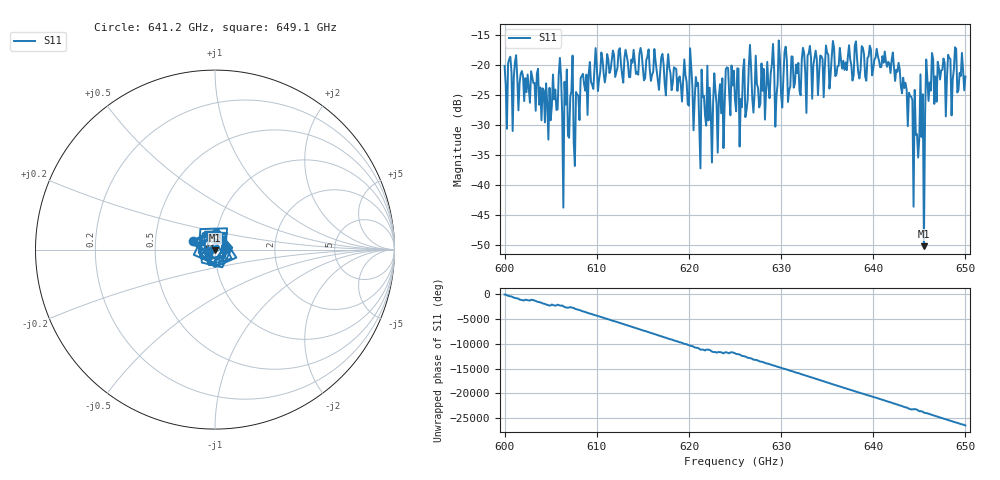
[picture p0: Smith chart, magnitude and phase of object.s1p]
!Created with skrf (http://scikit-rf.org).
# GHz S MA R 50.0
!freq magS11 angS11
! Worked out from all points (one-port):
!   401 points, 600 GHz to 650 GHz, reference 50 ohm
!   lowest |S11| = -50.1 dB at 645.5 GHz (marker M1), VSWR 1.01, Z = 49.9 - j0.3 ohm
!   |S11| at or under -10 dB: start of sweep to end of sweep
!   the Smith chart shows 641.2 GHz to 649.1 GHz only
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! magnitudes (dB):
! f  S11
! 600 GHz  -20.1
! 603.4 GHz  -27.6
! 604.9 GHz  -23.8
! 605.9 GHz  -21.5
! 606.2 GHz  -28.4
! 607.8 GHz  -24.5
! 608.5 GHz  -21.5
! 612.5 GHz  -17.2
! 618.8 GHz  -24.3
! 622.4 GHz  -28.1
! 623.6 GHz  -22.2
! 624.1 GHz  -20.4
! 625 GHz  -25.9
! 625.6 GHz  -25.6
! 626.6 GHz  -16.7
! 628.5 GHz  -19.5
! 631.2 GHz  -18.6
! 637.5 GHz  -19.1
! 641.9 GHz  -21.3
! 643.8 GHz  -30.2
! 644.6 GHz  -31.6
! 645.1 GHz  -21.6
! 645.2 GHz  -32.0
! 645.5 GHz  -50.1
! 645.8 GHz  -19.1
! 645.9 GHz  -22.4
! 646.2 GHz  -24.2
! 650 GHz  -21.9
